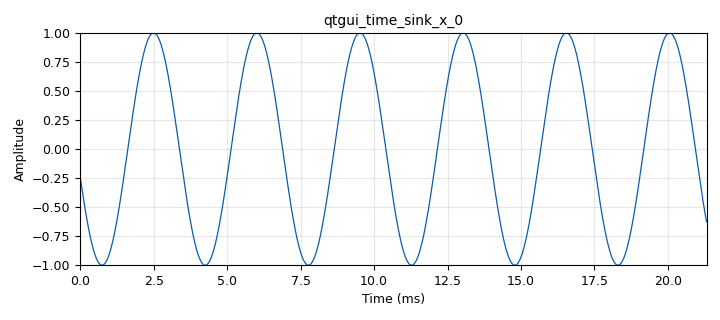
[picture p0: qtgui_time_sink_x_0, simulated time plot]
options:
  parameters:
    generate_options: qt_gui
    id: transmit_test
    output_language: python
    title: transmit_test
  states: {}

blocks:
- name: center_freq
  id: variable_qtgui_range
  parameters:
    start: 1.8e9
    step: 1e8
    stop: 2e9
    value: 1.9e9
  states: {}
- name: gain
  id: variable_qtgui_range
  parameters:
    start: '1'
    step: '1'
    stop: '10'
    value: '1'
  states: {}
- name: samp_rate
  id: variable
  parameters:
    value: 2e6
  states: {}
- name: analog_sig_source_x_0
  id: analog_sig_source_x
  parameters:
    amp: '1'
    freq: center_freq
    offset: '0'
    phase: '0'
    samp_rate: samp_rate
    type: complex
    waveform: analog.GR_COS_WAVE
  states: {state: disabled}
- name: analog_sig_source_x_0_0
  id: analog_sig_source_x
  parameters:
    amp: '1'
    freq: '261'
    offset: '0'
    phase: '0'
    samp_rate: '44000'
    type: float
    waveform: analog.GR_COS_WAVE
  states: {}
- name: audio_sink_0
  id: audio_sink
  parameters:
    samp_rate: '48000'
  states: {}
- name: audio_sink_0_0
  id: audio_sink
  parameters:
    samp_rate: '44100'
  states: {}
- name: blocks_wavfile_source_0
  id: blocks_wavfile_source
  parameters:
    file: C:\Users\jwhit\OneDrive\Documents\FYP\GRC\Bad Apple Music.wav
    repeat: 'True'
  states: {}
- name: osmosdr_sink_0
  id: osmosdr_sink
  parameters:
    bb_gain0: '20'
    freq0: center_freq
    gain0: gain
    if_gain0: '20'
    sample_rate: samp_rate
    sync: sync
    type: fc32
  states: {state: disabled}
- name: qtgui_freq_sink_x_0
  id: qtgui_freq_sink_x
  parameters:
    bw: samp_rate
    fc: center_freq
    fftsize: '1024'
    type: complex
  states: {state: disabled}
- name: qtgui_time_sink_x_0
  id: qtgui_time_sink_x
  parameters:
    size: '1024'
    srate: '48000'
    type: float
  states: {}
- name: qtgui_time_sink_x_0_0
  id: qtgui_time_sink_x
  parameters:
    size: '1024'
    srate: '44100'
    type: float
  states: {}

connections:
- [analog_sig_source_x_0, '0', osmosdr_sink_0, '0']
- [analog_sig_source_x_0, '0', qtgui_freq_sink_x_0, '0']
- [analog_sig_source_x_0_0, '0', audio_sink_0, '0']
- [analog_sig_source_x_0_0, '0', qtgui_time_sink_x_0, '0']
- [blocks_wavfile_source_0, '0', audio_sink_0_0, '0']
- [blocks_wavfile_source_0, '0', qtgui_time_sink_x_0_0, '0']

metadata:
  file_format: 1
  grc_version: 3.10.10.0
